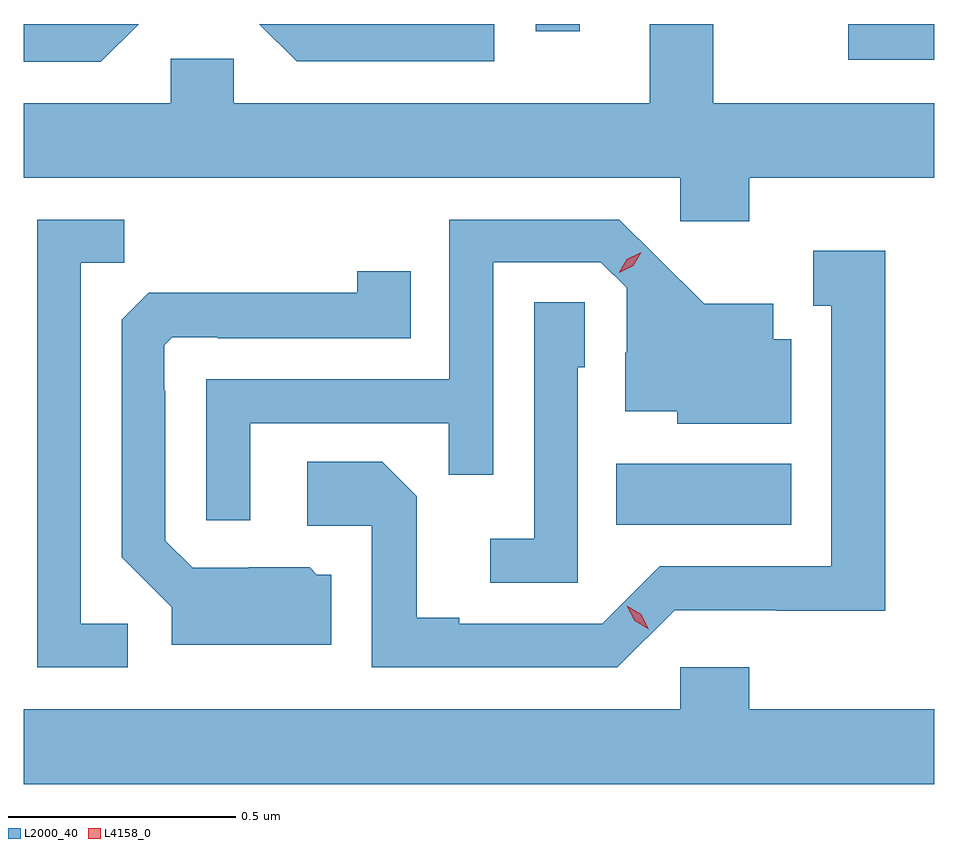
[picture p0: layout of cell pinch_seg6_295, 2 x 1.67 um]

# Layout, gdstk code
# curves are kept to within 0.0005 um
import gdstk
lib = gdstk.Library(unit=1e-6, precision=1e-09)
def R(c, l, rs):  # rectangles x0, y0, x1, y1
    for r in rs: c.add(gdstk.rectangle(r[:2], r[2:], *l))
def P(c, l, *ps):  # polygons
    for p in ps: c.add(gdstk.Polygon(p, *l))
L2000_40 = (2000, 40)
L4158_0 = (4158, 0)

pinch_seg6_295 = lib.new_cell('pinch_seg6_295')
R(pinch_seg6_295, L2000_40, [(864.64,995.858,865.024,995.992), (865.149,996.879,865.338,996.958), (864.463,996.942,864.559,996.958)])
P(pinch_seg6_295, L2000_40, [(864.932,996.62),(865.338,996.62),(865.338,996.784),(864.853,996.784),(864.853,996.958),(864.713,996.958),(864.713,996.784),(863.799,996.784),(863.799,996.882),(863.661,996.882),(863.661,996.784),(863.338,996.784),(863.338,996.62),(864.78,996.62),(864.78,996.525),(864.932,996.525)],
  [(863.59,996.958),(863.338,996.958),(863.338,996.875),(863.507,996.875)],
  [(864.372,996.958),(863.855,996.958),(863.937,996.876),(864.372,996.876)],
  [(863.566,995.64),(863.463,995.64),(863.463,996.433),(863.559,996.433),(863.559,996.528),(863.367,996.528),(863.367,995.544),(863.566,995.544)],
  [(863.835,996.081),(864.271,996.081),(864.271,995.968),(864.369,995.968),(864.369,996.435),(864.606,996.435),(864.663,996.378),(864.663,996.236),(864.659,996.236),(864.659,996.107),(864.774,996.107),(864.774,996.08),(865.024,996.08),(865.024,996.265),(864.985,996.265),(864.985,996.343),(864.833,996.343),(864.646,996.528),(864.273,996.528),(864.273,996.177),(863.739,996.177),(863.739,995.868),(863.835,995.868)],
  [(864.768,995.67),(864.99,995.67),(864.99,995.669),(865.231,995.669),(865.231,996.46),(865.073,996.46),(865.073,996.339),(865.112,996.339),(865.112,995.766),(864.735,995.766),(864.609,995.64),(864.295,995.64),(864.295,995.653),(864.201,995.653),(864.201,995.92),(864.125,995.996),(863.961,995.996),(863.961,995.856),(864.102,995.856),(864.102,995.544),(864.642,995.544)],
  [(864.013,995.748),(863.982,995.748),(863.966,995.764),(863.832,995.764),(863.832,995.763),(863.709,995.763),(863.649,995.823),(863.649,996.152),(863.646,996.152),(863.646,996.252),(863.664,996.27),(863.764,996.27),(863.764,996.267),(864.188,996.267),(864.188,996.415),(864.07,996.415),(864.07,996.368),(863.713,996.368),(863.713,996.367),(863.612,996.367),(863.553,996.308),(863.553,995.786),(863.663,995.676),(863.663,995.594),(864.013,995.594)],
  [(864.555,996.204),(864.57,996.204),(864.57,996.347),(864.459,996.347),(864.459,995.827),(864.363,995.827),(864.363,995.73),(864.555,995.73)],
  [(865.338,995.452),(864.932,995.452),(864.932,995.545),(864.78,995.545),(864.78,995.452),(863.338,995.452),(863.338,995.288),(865.338,995.288)])
P(pinch_seg6_295, L4158_0, [(864.711,995.628),(864.68,995.647),(864.663,995.68),(864.663,995.68),(864.663,995.68),(864.694,995.661),(864.711,995.628),(864.711,995.628)],
  [(864.646,996.411),(864.646,996.412),(864.663,996.441),(864.694,996.457),(864.694,996.457),(864.694,996.457),(864.677,996.427),(864.646,996.411)])

lib.write_gds('pinch_seg6_295.gds')
